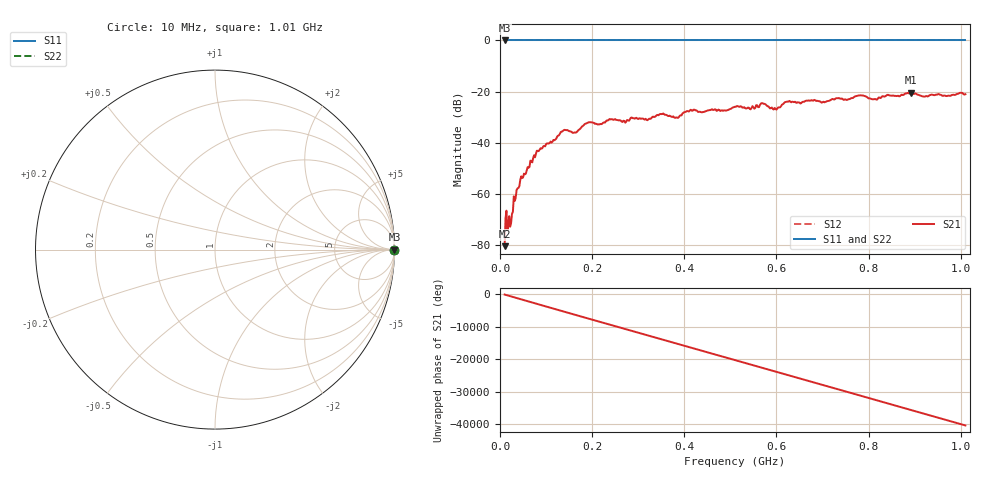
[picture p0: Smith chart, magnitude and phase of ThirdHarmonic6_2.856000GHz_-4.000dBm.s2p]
! 8/17/2025 7:45:20 AM
! C:\ANRITSUVNA\TEMP\TEMP.S2P
! CHANNEL.1
! TR.MEASUREMENT
! RAW.DATA
! RF.CORRECTION.OFF
! AVERAGING.OFF
! IF.BANDWIDTH: 5KHZ
! SWEEPTYPE:  FREQ.SWEEP(Linear)
! Reference Plane Port Info
! PORT:  PORT1  PORT2
! DISTANCE:  0  m  0  m
! TIME:  0  s  0  s
! PHASE.OFFSET:  0  deg.  0  deg.
! LOSS:  0  dB  0  dB
! REF.LOSS:  0  dB  0  dB
! REF.FREQ:  0  Hz  0  Hz
! Power Info
! POWER:  -20  dBm  -20  dBm
! EFF.POWER:  -20  dBm  -20  dBm
! SOURCE.ATTEN:  0  dB  0  dB
! TEST.ATTEN:  0  dB  0  dB
# GHZ S RI R 50.0
! FREQ.GHZ  S11RE  S11IM  S21RE  S21IM  S12RE  S12IM  S22RE  S22IM
!; PortSelection: Port_12
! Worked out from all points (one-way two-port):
!   501 points, 10 MHz to 1.01 GHz, reference 50 ohm
!   highest |S21| = -20.39 dB at 892 MHz (marker M1); lowest = -80.5 dB at 10 MHz (marker M2)
!   lowest |S11| = 0.0 dB at 10 MHz (marker M3)
!   |S11| at or under -10 dB: nowhere
!   |S22| runs from 0.0 to 0.0 dB; largest |S21 - S12| = 1.1
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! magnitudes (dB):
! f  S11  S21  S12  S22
! 10 MHz  0.0  -80.5  0.0  0.0
! 16 MHz  0.0  -74.4  0.0  0.0
! 20 MHz  0.0  -68.8  0.0  0.0
! 34 MHz  0.0  -61.6  0.0  0.0
! 42 MHz  0.0  -57.1  0.0  0.0
! 78 MHz  0.0  -44.3  0.0  0.0
! 136 MHz  0.0  -35.5  0.0  0.0
! 162 MHz  0.0  -36.0  0.0  0.0
! 178 MHz  0.0  -33.7  0.0  0.0
! 194 MHz  0.0  -32.0  0.0  0.0
! 322 MHz  0.0  -30.9  0.0  0.0
! 344 MHz  0.0  -29.3  0.0  0.0
! 384 MHz  0.0  -30.2  0.0  0.0
! 416 MHz  0.0  -27.5  0.0  0.0
! 510 MHz  0.0  -25.9  0.0  0.0
! 570 MHz  0.0  -24.6  0.0  0.0
! 596 MHz  0.0  -26.4  0.0  0.0
! 624 MHz  0.0  -23.9  0.0  0.0
! 678 MHz  0.0  -23.5  0.0  0.0
! 844 MHz  0.0  -21.4  0.0  0.0
! 892 MHz  0.0  -20.4  0.0  0.0
! 1.01 GHz  0.0  -21.0  0.0  0.0
